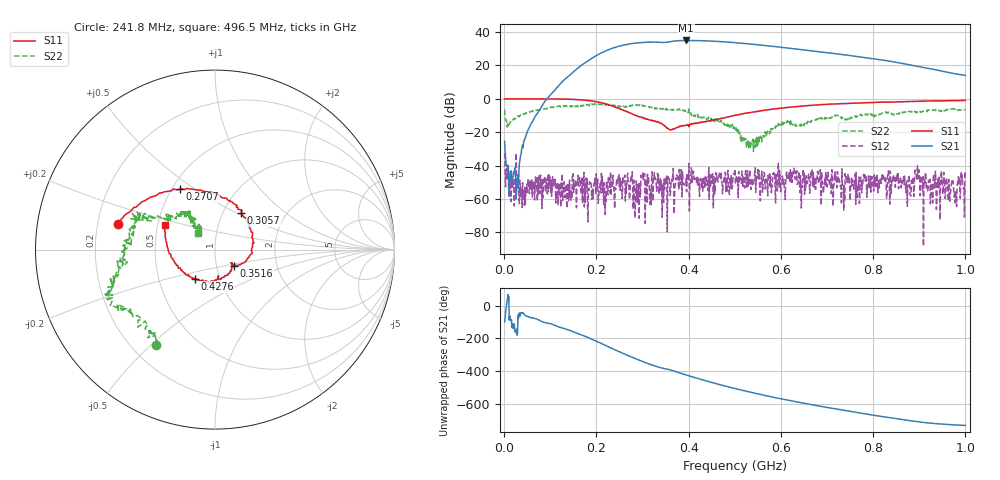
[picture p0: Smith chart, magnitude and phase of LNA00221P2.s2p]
! Created with skrf 1.9.0 (http://scikit-rf.org).
# Hz S RI R 50.0
!freq ReS11 ImS11 ReS21 ImS21 ReS12 ImS12 ReS22 ImS22
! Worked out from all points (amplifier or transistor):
!   1001 points, 1 MHz to 1 GHz, reference 50 ohm
!   highest |S21| = 35.0 dB at 394.6 MHz (marker M1)
!   |S21| within 3 dB of that: 255.5 MHz to 565.5 MHz (309.9 MHz wide, 75.5 % of centre)
!   unconditionally stable (mu >= 1): start of sweep to 74.85 MHz; 231.1 MHz to 400.4 MHz; 400.7 MHz to end of sweep (the widest 3 of 26)
!   at 166.8 MHz: K = 2.65, MAG = 31.3 dB, |S12| = -56.9 dB
!   at 500.5 MHz: K = 1.33, MAG = 34.5 dB, |S12| = -42.1 dB
!   at 1 GHz: K = 2.76, MAG = 22.9 dB, |S12| = -46.4 dB
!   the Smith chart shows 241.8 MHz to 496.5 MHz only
!   S11 on the Smith chart (normalised r, x): 241.8 MHz: 0.29, +0.12; 270.7 MHz: 0.55, +0.44; 305.7 MHz: 1.22, +0.53; 351.6 MHz: 1.21, -0.22; 427.6 MHz: 0.76, -0.26; 496.5 MHz: 0.55, +0.16
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1000000  0.9803 -0.00372  -0.00888 -0.0527  -0.0237 0.00343  0.2982 0.3724
1.07893e8  0.5217 -0.8456  -0.7909 -1.513  -0.00231 -0.00198  0.4369 -0.379
1.67833e8  -0.2451 -0.8925  -10.12 -0.3511  -1.42e-05 0.00191  0.034 -0.6234
2.08792e8  -0.6669 -0.3849  -15.53 17.02  0.00126 -0.00297  -0.2002 -0.6493
2.41759e8  -0.5406 0.1454  0.186 35.27  0.00142 0.00133  -0.3296 -0.5329
2.7073e8  -0.1951 0.3367  25.76 35.18  -0.00188 -0.000578  -0.5319 -0.3352
3.05695e8  0.1464 0.2039  47.47 12.28  0.000187 -7.19e-06  -0.5682 -0.2018
3.34666e8  0.2008 -0.0253  48.14 -11.91  -0.00493 0.00117  -0.499 0.000858
3.51649e8  0.1045 -0.0893  44.49 -21.11  0.00275 0.00152  -0.5104 0.0485
3.7063e8  0.0947 -0.0879  41.87 -34.19  0.000354 0.00251  -0.442 0.1705
3.94606e8  0.0365 -0.1575  26.7 -49.15  0.00421 -0.000496  -0.3756 0.1672
4.27573e8  -0.1111 -0.1626  1.036 -54.82  0.00254 0.00131  -0.2051 0.1923
4.62538e8  -0.2434 -0.0436  -23.11 -46.82  0.00063 0.00386  -0.1322 0.177
4.96504e8  -0.2797 0.1356  -37.44 -30.68  0.00491 -0.0016  -0.0923 0.0933
5.005e8  -0.2825 0.1526  -38.94 -28.49  -3.84e-05 0.00784  -0.0542 0.1069
5.39461e8  -0.195 0.3518  -42.24 -7.781  0.00241 0.000502  -0.0611 0.00963
5.85415e8  0.00662 0.499  -35.24 11.29  0.00329 -0.0036  -0.1299 -0.0694
6.25375e8  0.1961 0.5359  -24.3 20.42  -0.00145 -0.00493  -0.1115 -0.1221
6.67333e8  0.403 0.4976  -12.64 23.92  0.00049 -0.00749  -0.2226 -0.0473
7.53247e8  0.6804 0.2815  4.56 18.89  -0.00225 -0.00356  -0.2756 -0.00971
8.34166e8  0.7971 0.0191  10.36 8.666  -0.0025 -0.000799  -0.3818 -0.00889
1e9  0.73 -0.5196  4.985 -0.6756  -0.00153 0.00456  -0.3302 0.3361
